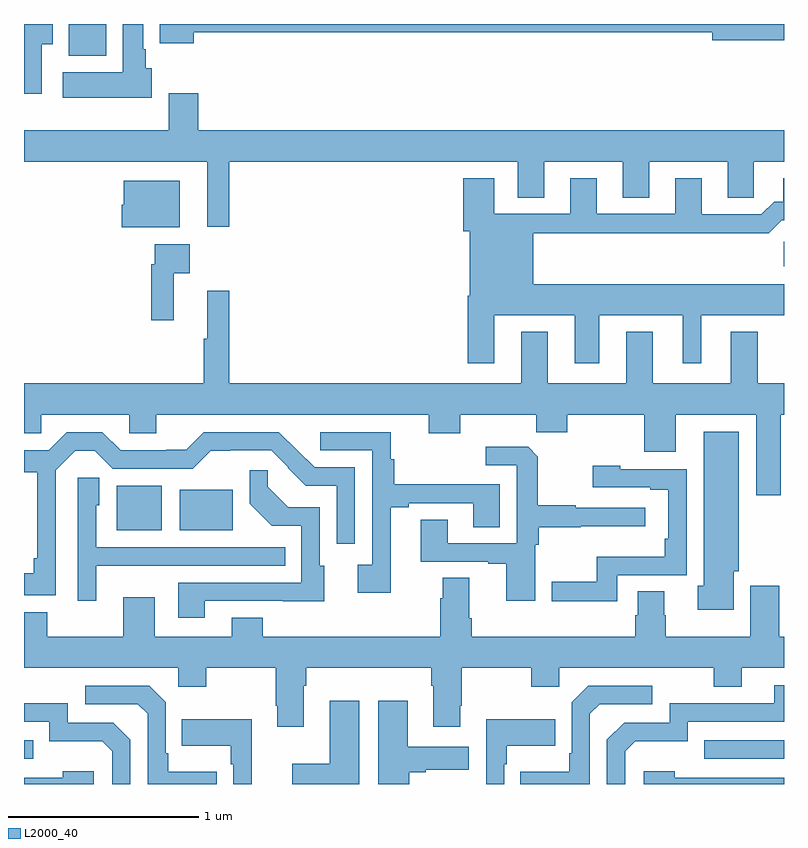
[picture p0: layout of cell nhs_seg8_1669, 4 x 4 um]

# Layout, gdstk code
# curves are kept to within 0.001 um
import gdstk
lib = gdstk.Library(unit=1e-6, precision=1e-09)
def R(c, l, rs):  # rectangles x0, y0, x1, y1
    for r in rs: c.add(gdstk.rectangle(r[:2], r[2:], *l))
def P(c, l, *ps):  # polygons
    for p in ps: c.add(gdstk.Polygon(p, *l))
L2000_40 = (2000, 40)

nhs_seg8_1669 = lib.new_cell('nhs_seg8_1669')
R(nhs_seg8_1669, L2000_40, [(217,1104.033,217.049,1104.129), (220.579,1104.033,221,1104.129), (217.487,1105.235,217.726,1105.471), (217.82,1105.235,218.098,1105.45), (220.998,1106.624,221,1106.753), (217.235,1107.734,217.432,1107.9)])
P(nhs_seg8_1669, L2000_40, [(217.894,1107.856),(220.622,1107.856),(220.622,1107.814),(221,1107.814),(221,1107.9),(217.715,1107.9),(217.715,1107.8),(217.894,1107.8)],
  [(217.093,1107.793),(217.15,1107.793),(217.15,1107.9),(217,1107.9),(217,1107.534),(217.093,1107.534)],
  [(217.672,1107.666),(217.642,1107.666),(217.642,1107.766),(217.627,1107.766),(217.627,1107.9),(217.52,1107.9),(217.52,1107.646),(217.203,1107.646),(217.203,1107.512),(217.672,1107.512)],
  [(218.081,1107.176),(219.599,1107.176),(219.599,1106.986),(219.739,1106.986),(219.739,1107.176),(220.151,1107.176),(220.151,1106.986),(220.291,1106.986),(220.291,1107.176),(220.703,1107.176),(220.703,1106.986),(220.842,1106.986),(220.842,1107.176),(221,1107.176),(221,1107.34),(217.916,1107.34),(217.916,1107.535),(217.763,1107.535),(217.763,1107.34),(217,1107.34),(217,1107.176),(217.964,1107.176),(217.964,1106.832),(218.081,1106.832)],
  [(219.475,1106.366),(219.899,1106.366),(219.899,1106.115),(220.027,1106.115),(220.027,1106.366),(220.466,1106.366),(220.466,1106.115),(220.564,1106.115),(220.564,1106.366),(221,1106.366),(221,1106.53),(219.679,1106.53),(219.679,1106.8),(220.663,1106.8),(220.663,1106.798),(220.919,1106.798),(220.989,1106.868),(221,1106.868),(221,1107.088),(220.997,1107.088),(220.997,1106.965),(220.948,1106.965),(220.881,1106.898),(220.567,1106.898),(220.567,1107.088),(220.427,1107.088),(220.427,1106.901),(220.015,1106.901),(220.015,1107.088),(219.875,1107.088),(219.875,1106.901),(219.475,1106.901),(219.475,1107.088),(219.311,1107.088),(219.311,1106.808),(219.347,1106.808),(219.347,1106.47),(219.335,1106.47),(219.335,1106.115),(219.475,1106.115)],
  [(217.819,1107.076),(217.526,1107.076),(217.526,1106.949),(217.514,1106.949),(217.514,1106.831),(217.819,1106.831)],
  [(217.787,1106.588),(217.873,1106.588),(217.873,1106.74),(217.689,1106.74),(217.689,1106.636),(217.669,1106.636),(217.669,1106.34),(217.787,1106.34)],
  [(220.982,1105.844),(221,1105.844),(221,1106.008),(220.861,1106.008),(220.861,1106.281),(220.721,1106.281),(220.721,1106.008),(220.309,1106.008),(220.309,1106.281),(220.169,1106.281),(220.169,1106.008),(219.757,1106.008),(219.757,1106.281),(219.617,1106.281),(219.617,1106.008),(218.081,1106.008),(218.081,1106.497),(217.964,1106.497),(217.964,1106.244),(217.945,1106.244),(217.945,1106.008),(217,1106.008),(217,1105.746),(217.092,1105.746),(217.092,1105.844),(217.554,1105.844),(217.554,1105.746),(217.696,1105.746),(217.696,1105.844),(219.131,1105.844),(219.131,1105.745),(219.295,1105.745),(219.295,1105.844),(219.695,1105.844),(219.695,1105.751),(219.859,1105.751),(219.859,1105.844),(220.265,1105.844),(220.265,1105.65),(220.429,1105.65),(220.429,1105.844),(220.853,1105.844),(220.853,1105.419),(220.982,1105.419)],
  [(220.735,1105.02),(220.762,1105.02),(220.762,1105.753),(220.577,1105.753),(220.577,1104.944),(220.547,1104.944),(220.547,1104.818),(220.735,1104.818)],
  [(218.929,1105.357),(219.025,1105.357),(219.025,1105.377),(219.365,1105.377),(219.365,1105.252),(219.505,1105.252),(219.505,1105.478),(218.948,1105.478),(218.948,1105.61),(218.93,1105.61),(218.93,1105.752),(218.559,1105.752),(218.559,1105.656),(218.832,1105.656),(218.832,1105.054),(218.757,1105.054),(218.757,1104.906),(218.929,1104.906)],
  [(217.167,1105.551),(217.271,1105.655),(217.372,1105.655),(217.467,1105.56),(217.887,1105.56),(217.982,1105.655),(218.301,1105.656),(218.391,1105.566),(218.389,1105.564),(218.483,1105.47),(218.646,1105.47),(218.646,1105.164),(218.742,1105.164),(218.742,1105.566),(218.529,1105.566),(218.341,1105.752),(217.947,1105.752),(217.853,1105.658),(217.748,1105.658),(217.748,1105.656),(217.509,1105.656),(217.413,1105.752),(217.226,1105.752),(217.13,1105.656),(217,1105.656),(217,1105.54),(217.07,1105.54),(217.07,1105.087),(217.051,1105.087),(217.051,1105.01),(217,1105.01),(217,1104.894),(217.167,1104.894)],
  [(219.69,1105.16),(219.71,1105.16),(219.71,1105.252),(219.929,1105.252),(219.929,1105.256),(220.27,1105.256),(220.27,1105.353),(219.905,1105.353),(219.905,1105.366),(219.705,1105.366),(219.705,1105.623),(219.653,1105.675),(219.429,1105.675),(219.429,1105.578),(219.594,1105.578),(219.594,1105.167),(219.229,1105.167),(219.229,1105.292),(219.089,1105.292),(219.089,1105.071),(219.443,1105.071),(219.443,1105.059),(219.539,1105.059),(219.539,1104.864),(219.69,1104.864)],
  [(220.122,1104.999),(220.488,1104.999),(220.488,1105.557),(220.137,1105.557),(220.137,1105.576),(219.993,1105.576),(219.993,1105.461),(220.295,1105.461),(220.295,1105.449),(220.392,1105.449),(220.392,1105.192),(220.372,1105.192),(220.372,1105.096),(220.014,1105.096),(220.014,1104.965),(219.777,1104.965),(219.777,1104.863),(220.122,1104.863)],
  [(217.951,1104.864),(218.581,1104.863),(218.581,1105.05),(218.556,1105.05),(218.556,1105.356),(218.39,1105.356),(218.282,1105.464),(218.282,1105.552),(218.187,1105.552),(218.187,1105.376),(218.303,1105.26),(218.46,1105.26),(218.46,1104.96),(217.811,1104.96),(217.811,1104.774),(217.951,1104.774)],
  [(217.381,1105.049),(217.715,1105.049),(217.715,1105.05),(218.375,1105.05),(218.375,1105.146),(217.38,1105.146),(217.38,1105.368),(217.396,1105.368),(217.396,1105.511),(217.284,1105.511),(217.284,1104.864),(217.381,1104.864)],
  [(218.473,1104.416),(218.486,1104.416),(218.486,1104.512),(219.143,1104.512),(219.143,1104.416),(219.155,1104.416),(219.155,1104.201),(219.295,1104.201),(219.295,1104.313),(219.303,1104.313),(219.303,1104.512),(219.67,1104.512),(219.67,1104.413),(219.816,1104.413),(219.816,1104.512),(220.63,1104.512),(220.63,1104.413),(220.777,1104.413),(220.777,1104.512),(221,1104.512),(221,1104.676),(220.976,1104.676),(220.976,1104.943),(220.823,1104.943),(220.823,1104.676),(220.377,1104.676),(220.377,1104.789),(220.369,1104.789),(220.369,1104.914),(220.229,1104.914),(220.229,1104.789),(220.217,1104.789),(220.217,1104.676),(219.356,1104.676),(219.356,1104.772),(219.343,1104.772),(219.343,1104.986),(219.203,1104.986),(219.203,1104.878),(219.191,1104.878),(219.191,1104.676),(218.257,1104.676),(218.257,1104.775),(218.093,1104.775),(218.093,1104.676),(217.687,1104.676),(217.687,1104.883),(217.523,1104.883),(217.523,1104.676),(217.123,1104.676),(217.123,1104.805),(217,1104.805),(217,1104.512),(217.812,1104.512),(217.812,1104.413),(217.959,1104.413),(217.959,1104.512),(218.326,1104.512),(218.326,1104.313),(218.333,1104.313),(218.333,1104.201),(218.473,1104.201)],
  [(220.164,1104.072),(220.217,1104.125),(220.494,1104.125),(220.494,1104.228),(221,1104.228),(221,1104.42),(220.949,1104.42),(220.949,1104.324),(220.398,1104.324),(220.398,1104.222),(220.158,1104.222),(220.068,1104.132),(220.068,1103.9),(220.164,1103.9)],
  [(218.015,1103.965),(217.759,1103.965),(217.759,1104.061),(217.746,1104.061),(217.746,1104.33),(217.659,1104.417),(217.323,1104.417),(217.323,1104.321),(217.599,1104.321),(217.65,1104.27),(217.65,1103.9),(218.015,1103.9)],
  [(219.978,1104.27),(220.029,1104.321),(220.306,1104.321),(220.306,1104.417),(219.969,1104.417),(219.882,1104.33),(219.882,1104.061),(219.87,1104.061),(219.87,1103.965),(219.613,1103.965),(219.613,1103.9),(219.978,1103.9)],
  [(218.764,1104.337),(218.609,1104.337),(218.609,1104.007),(218.412,1104.007),(218.412,1103.9),(218.764,1103.9)],
  [(219.027,1103.963),(219.115,1103.963),(219.115,1103.975),(219.34,1103.975),(219.34,1104.097),(219.019,1104.097),(219.019,1104.337),(218.864,1104.337),(218.864,1103.9),(219.027,1103.9)],
  [(217.56,1104.132),(217.47,1104.222),(217.23,1104.222),(217.23,1104.324),(217,1104.324),(217,1104.228),(217.134,1104.228),(217.134,1104.125),(217.411,1104.125),(217.464,1104.072),(217.464,1103.9),(217.56,1103.9)],
  [(219.528,1104.005),(219.541,1104.005),(219.541,1104.101),(219.797,1104.101),(219.797,1104.241),(219.432,1104.241),(219.432,1103.9),(219.528,1103.9)],
  [(218.198,1104.241),(217.831,1104.241),(217.831,1104.101),(218.088,1104.101),(218.088,1104.005),(218.1,1104.005),(218.1,1103.9),(218.198,1103.9)],
  [(217.366,1103.968),(217.205,1103.968),(217.205,1103.934),(217,1103.934),(217,1103.9),(217.366,1103.9)],
  [(221,1103.934),(220.424,1103.934),(220.424,1103.968),(220.263,1103.968),(220.263,1103.9),(221,1103.9)])

lib.write_gds('nhs_seg8_1669.gds')
